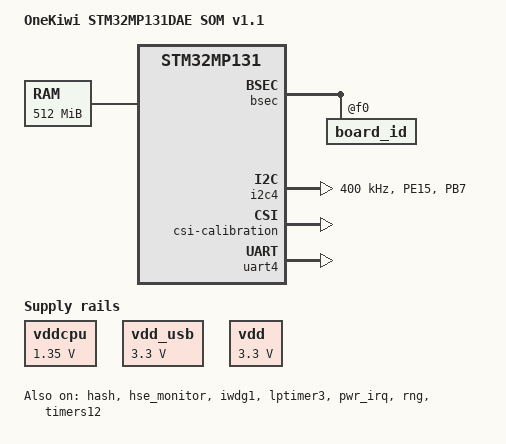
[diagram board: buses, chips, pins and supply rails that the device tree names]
// SPDX-License-Identifier: (GPL-2.0+ OR BSD-3-Clause)
/*
 * Copyright (C) STMicroelectronics 2021-2023 - All Rights Reserved
 * Author: Alexandre Torgue <alexandre.torgue@foss.st.com> for STMicroelectronics.
 */

/dts-v1/;

#include <dt-bindings/clock/stm32mp13-clksrc.h>
#include <dt-bindings/gpio/gpio.h>
#include <dt-bindings/gpio/stm32mp_gpio.h>
#include <dt-bindings/mfd/st,stpmic1.h>
#include <dt-bindings/power/stm32mp1-power.h>
#include <dt-bindings/regulator/st,stm32mp13-regulator.h>
#include <dt-bindings/soc/stm32mp-provisioning.h>
#include <dt-bindings/soc/stm32mp-tzc400-macro.h>
#include <dt-bindings/soc/stm32mp13-tzc400.h>
#include <dt-bindings/tamper/st,stm32mp13-tamp.h>
#include "stm32mp131.dtsi"
#include "stm32mp13xd.dtsi"
#include "stm32mp13-pinctrl.dtsi"

&pinctrl {
	i2c4_pins_b: i2c4-1 {
		pins {
			pinmux = <STM32_PINMUX('E', 15, AF6)>, /* I2C4_SCL */
				 <STM32_PINMUX('B', 7, AF6)>; /* I2C4_SDA */
			bias-disable;
			drive-open-drain;
			slew-rate = <0>;
		};
	};

	i2c4_sleep_pins_b: i2c4-sleep-1 {
		pins {
			pinmux = <STM32_PINMUX('E', 15, ANALOG)>, /* I2C4_SCL */
				 <STM32_PINMUX('B', 7, ANALOG)>; /* I2C4_SDA */
		};
	};
};

/ {
	model = "OneKiwi STM32MP131DAE SOM v1.1";
	compatible = "st,stm32mp131dae-onekiwi", "st,stm32mp131";

	aliases {
		serial0 = &uart4;
	};

	chosen {
		stdout-path = "serial0:115200n8";
	};

	magic_wol: magic_wol {
		compatible = "st,stm32mp1-pwr-irq-user";
		wakeup-parent = <&pwr_irq>;
		st,wakeup-pin-number = <2>;
		status = "okay";
	};

	memory@c0000000 {
		device_type = "memory";
		reg = <0xc0000000 0x20000000>;
	};

	reserved-memory {
		#address-cells = <1>;
		#size-cells = <1>;
		ranges;

		optee_framebuffer: optee-framebuffer@dd000000 {
			/* Secure framebuffer memory */
			reg = <0xdd000000 0x1000000>;
			st,protreg = <TZC_REGION_S_RDWR 0>;
		};
	};

	shadow-prov {
		compatible = "st,provisioning";
		hw2_prov {
			nvmem-cells = <&hw2_otp>;
			st,shadow-value = <0x000001E0>;
			st,shadow-lock = <STICKY_LOCK_SR>;
		};
	};

	typec_wakeup: typec_wakeup {
		compatible = "st,stm32mp1-pwr-irq-user";
		wakeup-parent = <&pwr_irq>;
		st,wakeup-pin-number = <5>;
		st,notif-it-id = <1>;
		status = "okay";
	};

	vddcpu: vddcpu {
		compatible = "regulator-fixed";
		regulator-name = "vddcpu";
		regulator-min-microvolt = <1350000>;
		regulator-max-microvolt = <1350000>;
		regulator-always-on;
	};
	
	vdd_usb: vdd_usb {
		compatible = "regulator-fixed";
		regulator-name = "vdd_usb";
		regulator-min-microvolt = <3300000>;
		regulator-max-microvolt = <3300000>;
		regulator-always-on;
	};

	vdd: vdd {
		compatible = "regulator-fixed";
		regulator-name = "vdd";
		regulator-min-microvolt = <3300000>;
		regulator-max-microvolt = <3300000>;
		regulator-always-on;
	};
};
/*
&adc_2 {
	vdda-supply = <&vdd_adc>;
	vref-supply = <&vdd_adc>;
	status = "okay";

	adc2: adc@0 {
		status = "okay";

		channel@15 {
			reg = <15>;
			label = "vbat";
		};
	};
};*/

&bsec {
	board_id: board_id@f0 {
		reg = <0xf0 0x4>;
		st,non-secure-otp;
	};
};

&cpu0 {
	cpu-supply = <&vddcpu>;
};

/*
&etzpc {
	st,decprot = <
		DECPROT(STM32MP1_ETZPC_BKPSRAM_ID, DECPROT_S_RW, DECPROT_UNLOCK)
		DECPROT(STM32MP1_ETZPC_CRYP_ID, DECPROT_NS_RW, DECPROT_UNLOCK)
		DECPROT(STM32MP1_ETZPC_DCMIPP_ID, DECPROT_NS_RW, DECPROT_UNLOCK)
		DECPROT(STM32MP1_ETZPC_DDRCTRLPHY_ID, DECPROT_NS_R_S_W, DECPROT_UNLOCK)
		DECPROT(STM32MP1_ETZPC_ETH1_ID, DECPROT_NS_RW, DECPROT_UNLOCK)
		DECPROT(STM32MP1_ETZPC_ETH2_ID, DECPROT_NS_RW, DECPROT_UNLOCK)
		DECPROT(STM32MP1_ETZPC_FMC_ID, DECPROT_NS_RW, DECPROT_UNLOCK)
		DECPROT(STM32MP1_ETZPC_HASH_ID, DECPROT_S_RW, DECPROT_UNLOCK)
		DECPROT(STM32MP1_ETZPC_I2C3_ID, DECPROT_NS_RW, DECPROT_UNLOCK)
		DECPROT(STM32MP1_ETZPC_I2C4_ID, DECPROT_S_RW, DECPROT_UNLOCK)
		DECPROT(STM32MP1_ETZPC_I2C5_ID, DECPROT_NS_RW, DECPROT_UNLOCK)
		DECPROT(STM32MP1_ETZPC_IWDG1_ID, DECPROT_S_RW, DECPROT_UNLOCK)
		DECPROT(STM32MP1_ETZPC_LPTIM2_ID, DECPROT_NS_RW, DECPROT_UNLOCK)
		DECPROT(STM32MP1_ETZPC_LPTIM3_ID, DECPROT_S_RW, DECPROT_UNLOCK)
		DECPROT(STM32MP1_ETZPC_MCE_ID, DECPROT_S_RW, DECPROT_UNLOCK)
		DECPROT(STM32MP1_ETZPC_OTG_ID, DECPROT_NS_RW, DECPROT_UNLOCK)
		DECPROT(STM32MP1_ETZPC_PKA_ID, DECPROT_S_RW, DECPROT_UNLOCK)
		DECPROT(STM32MP1_ETZPC_QSPI_ID, DECPROT_NS_RW, DECPROT_UNLOCK)
		DECPROT(STM32MP1_ETZPC_RNG_ID, DECPROT_S_RW, DECPROT_UNLOCK)
		DECPROT(STM32MP1_ETZPC_SAES_ID, DECPROT_S_RW, DECPROT_UNLOCK)
		DECPROT(STM32MP1_ETZPC_SDMMC1_ID, DECPROT_NS_RW, DECPROT_UNLOCK)
		DECPROT(STM32MP1_ETZPC_SDMMC2_ID, DECPROT_NS_RW, DECPROT_UNLOCK)
		DECPROT(STM32MP1_ETZPC_SPI4_ID, DECPROT_NS_RW, DECPROT_UNLOCK)
		DECPROT(STM32MP1_ETZPC_SPI5_ID, DECPROT_NS_RW, DECPROT_UNLOCK)
		DECPROT(STM32MP1_ETZPC_SRAM1_ID, DECPROT_NS_RW, DECPROT_UNLOCK)
		DECPROT(STM32MP1_ETZPC_SRAM2_ID, DECPROT_NS_RW, DECPROT_UNLOCK)
		DECPROT(STM32MP1_ETZPC_SRAM3_ID, DECPROT_S_RW, DECPROT_UNLOCK)
		DECPROT(STM32MP1_ETZPC_STGENC_ID, DECPROT_S_RW, DECPROT_UNLOCK)
		DECPROT(STM32MP1_ETZPC_TIM12_ID, DECPROT_S_RW, DECPROT_UNLOCK)
		DECPROT(STM32MP1_ETZPC_TIM13_ID, DECPROT_NS_RW, DECPROT_UNLOCK)
		DECPROT(STM32MP1_ETZPC_TIM14_ID, DECPROT_NS_RW, DECPROT_UNLOCK)
		DECPROT(STM32MP1_ETZPC_TIM15_ID, DECPROT_S_RW, DECPROT_UNLOCK)
		DECPROT(STM32MP1_ETZPC_TIM16_ID, DECPROT_NS_RW, DECPROT_UNLOCK)
		DECPROT(STM32MP1_ETZPC_TIM17_ID, DECPROT_NS_RW, DECPROT_UNLOCK)
		DECPROT(STM32MP1_ETZPC_USART1_ID, DECPROT_NS_RW, DECPROT_UNLOCK)
		DECPROT(STM32MP1_ETZPC_USART2_ID, DECPROT_NS_RW, DECPROT_UNLOCK)
		DECPROT(STM32MP1_ETZPC_USBPHYCTRL_ID, DECPROT_NS_RW, DECPROT_UNLOCK)
		DECPROT(STM32MP1_ETZPC_VREFBUF_ID, DECPROT_NS_RW, DECPROT_UNLOCK)
	>;
};*/

/*
&gpioa {
	st,protreg = < (TZPROT(6)) >;
};

&gpiob {
	st,protreg = < (TZPROT(9)) >;
};

&gpiod {
	st,protreg = < (TZPROT(7)) >;
};

&gpioe {
	st,protreg = < (TZPROT(15)) >;
};

&gpiof {
	st,protreg = < (TZPROT(8)) >;
};

&gpioi {
	st,protreg = < (TZPROT(2) | TZPROT(3)) >;
};*/

&hash {
	status = "okay";
};

&hse_monitor {
	status = "okay";
};

&i2c4 {
	pinctrl-names = "default";
	pinctrl-0 = <&i2c4_pins_b>;
	i2c-scl-rising-time-ns = <185>;
	i2c-scl-falling-time-ns = <20>;
	clock-frequency = <400000>;
	status = "okay";
};

&iwdg1 {
	timeout-sec = <32>;
	status = "okay";
};

&lptimer3 {
	status = "okay";

	counter {
		status = "okay";
	};
};

&oem_enc_key {
	st,non-secure-otp-provisioning;
};

&osc_calibration {
	csi-calibration {
		status = "okay";
	};

	hsi-calibration {
		status = "okay";
	};
};

&pwr_irq {
	status = "okay";
	wakeup-gpios = <&gpiof 8 GPIO_ACTIVE_HIGH>, <&gpioi 3 GPIO_ACTIVE_HIGH>, <0>, <0>, <&gpioi 2 GPIO_PULL_UP>, <0>;
};

&pwr_regulators {
	system_suspend_supported_soc_modes = <
		STM32_PM_CSLEEP_RUN
		STM32_PM_CSTOP_ALLOW_LP_STOP
		STM32_PM_CSTOP_ALLOW_LPLV_STOP
		STM32_PM_CSTOP_ALLOW_LPLV_STOP2
		STM32_PM_CSTOP_ALLOW_STANDBY_DDR_SR
	>;

	system_off_soc_mode = <STM32_PM_SHUTDOWN>;
	vdd-supply = <&vdd>;
	vdd_3v3_usbfs-supply = <&vdd_usb>;
};

&rcc {
	st,clksrc = <
		CLK_MPU_PLL1P
		CLK_AXI_PLL2P
		CLK_MLAHBS_PLL3
		CLK_RTC_LSE
		CLK_MCO1_HSE
		CLK_MCO2_DISABLED
		CLK_CKPER_HSE
		CLK_ETH1_PLL4P
		CLK_ETH2_PLL4P
		CLK_SDMMC1_PLL4P
		CLK_SDMMC2_PLL4P
		CLK_STGEN_HSE
		CLK_USBPHY_HSE
		CLK_I2C4_HSI
		CLK_I2C5_HSI
		CLK_USBO_USBPHY
		CLK_ADC2_CKPER
		CLK_I2C12_HSI
		CLK_UART1_HSI
		CLK_UART2_HSI
		CLK_UART35_HSI
		CLK_UART4_HSI
		CLK_UART6_HSI
		CLK_UART78_HSI
		CLK_SAES_AXI
		CLK_DCMIPP_PLL2Q
		CLK_LPTIM3_PCLK3
		CLK_RNG1_PLL4R
	>;

	st,clkdiv = <
		DIV(DIV_MPU, 1)
		DIV(DIV_AXI, 0)
		DIV(DIV_MLAHB, 0)
		DIV(DIV_APB1, 1)
		DIV(DIV_APB2, 1)
		DIV(DIV_APB3, 1)
		DIV(DIV_APB4, 1)
		DIV(DIV_APB5, 2)
		DIV(DIV_APB6, 1)
		DIV(DIV_RTC, 0)
		DIV(DIV_MCO1, 0)
		DIV(DIV_MCO2, 0)
	>;

	st,pll_vco {
		pll1_vco_2000Mhz: pll1-vco-2000Mhz {
			src = <CLK_PLL12_HSE>;
			divmn = <1 82>;
			frac = <0xAAA>;
		};

		pll1_vco_1800Mhz: pll1-vco-1800Mhz {
			src = <CLK_PLL12_HSE>;
			divmn = <1 74>;
			frac = <0>;
		};

		pll1_vco_1300Mhz: pll1-vco-1300Mhz {
			src = <CLK_PLL12_HSE>;
			divmn = <2 80>;
			frac = <0x800>;
		};

		pll2_vco_1066Mhz: pll2-vco-1066Mhz {
			src = <CLK_PLL12_HSE>;
			divmn = <2 65>;
			frac = <0x1400>;
		};

		pll3_vco_417Mhz: pll3-vco-417Mhz {
			src = <CLK_PLL3_HSE>;
			divmn = <1 33>;
			frac = <0x1a04>;
		};

		pll4_vco_600Mhz: pll4-vco-600Mhz {
			src = <CLK_PLL4_HSE>;
			divmn = <1 49>;
		};
	};

	pll1: st,pll@0 {
		compatible = "st,stm32mp1-pll";
		reg = <0>;

		st,pll = <&pll1_cfg1>;

		/* VCO = 1300.0 MHz => P = 650 (CPU) */
		pll1_cfg1: pll1_cfg1 {
			st,pll_vco = <&pll1_vco_1300Mhz>;
			st,pll_div_pqr = <0 1 1>;
		};

		/* VCO = 2000.0 MHz => P = 1000 (CPU) */
		pll1_cfg2: pll1_cfg2 {
			st,pll_vco = <&pll1_vco_2000Mhz>;
			st,pll_div_pqr = <0 1 1>;
		};

		/* VCO = 1800.0 MHz => P = 900 (CPU) */
		pll1_cfg3: pll1_cfg3 {
			st,pll_vco = <&pll1_vco_1800Mhz>;
			st,pll_div_pqr = <0 1 1>;
		};
	};

	/* VCO = 1066.0 MHz => P = 266 (AXI), Q = 266, R = 533 (DDR) */
	pll2: st,pll@1 {
		compatible = "st,stm32mp1-pll";
		reg = <1>;

		st,pll = <&pll2_cfg1>;

		pll2_cfg1: pll2_cfg1 {
			st,pll_vco = <&pll2_vco_1066Mhz>;
			st,pll_div_pqr = <1 1 0>;
		};
	};

	/* VCO = 417.8 MHz => P = 209, Q = 24, R = 11 */
	pll3: st,pll@2 {
		compatible = "st,stm32mp1-pll";
		reg = <2>;

		st,pll = <&pll3_cfg1>;

		pll3_cfg1: pll3_cfg1 {
			st,pll_vco = <&pll3_vco_417Mhz>;
			st,pll_div_pqr = <1 16 36>;
		};
	};

	/* VCO = 600.0 MHz => P = 50, Q = 10, R = 50 */
	pll4: st,pll@3 {
		compatible = "st,stm32mp1-pll";
		reg = <3>;
		st,pll = <&pll4_cfg1>;

		pll4_cfg1: pll4_cfg1 {
			st,pll_vco = <&pll4_vco_600Mhz>;
			st,pll_div_pqr = <11 59 11>;
		};
	};

	st,clk_opp {
		/* CK_MPU clock config for MP13 */
		st,ck_mpu {
			cfg_1 {
				hz = <650000000>;
				st,clksrc = <CLK_MPU_PLL1P>;
				st,pll = <&pll1_cfg1>;
			};

			cfg_2 {
				hz = <1000000000>;
				st,clksrc = <CLK_MPU_PLL1P>;
				st,pll = <&pll1_cfg2>;
			};

			cfg_3 {
				hz = <900000000>;
				st,clksrc = <CLK_MPU_PLL1P>;
				st,pll = <&pll1_cfg3>;
			};
		};
	};

	st,rcc {
		compatible = "st,rcc";
		pinctrl-0 = <&rcc_mco_pins_a>;
	};
};

&rng {
	status = "okay";
	clock-error-detect;
};

&sdmmc1_io {
	vddsd1-supply = <&vdd>;
};

&sdmmc2_io {
	vddsd2-supply = <&vdd>;
};

&tamp {
	st,tamp-passive-nb-sample = <4>;
	st,tamp-passive-sample-clk-div = <16384>;
	wakeup-source;
	wakeup-parent = <&exti>;

	/* Tamper button */
	tamp-button {
		tamper-gpios = <&gpioa 6 0>;
		st,tamp-mode = <TAMPER_CONFIRMED_MODE>;
		st,tamp-id = <2>;
		status = "okay";
	};

	/* Connect pin8 and pin22 from CN8 */
	tamp-active {
		tamper-gpios = <&gpioc 0 0>, <&gpioi 0 0>;
		st,tamp-mode = <TAMPER_CONFIRMED_MODE>;
		st,tamp-id = <3>, <1>;
		status = "disabled";
	};
};

&timers12 {
	status = "okay";

	counter {
		status = "okay";
	};
};

&tzc400 {
	memory-region = <&optee_framebuffer>;
};

&uart4 {
	pinctrl-names = "default";
	pinctrl-0 = <&uart4_pins_a>;
	status = "okay";
};
